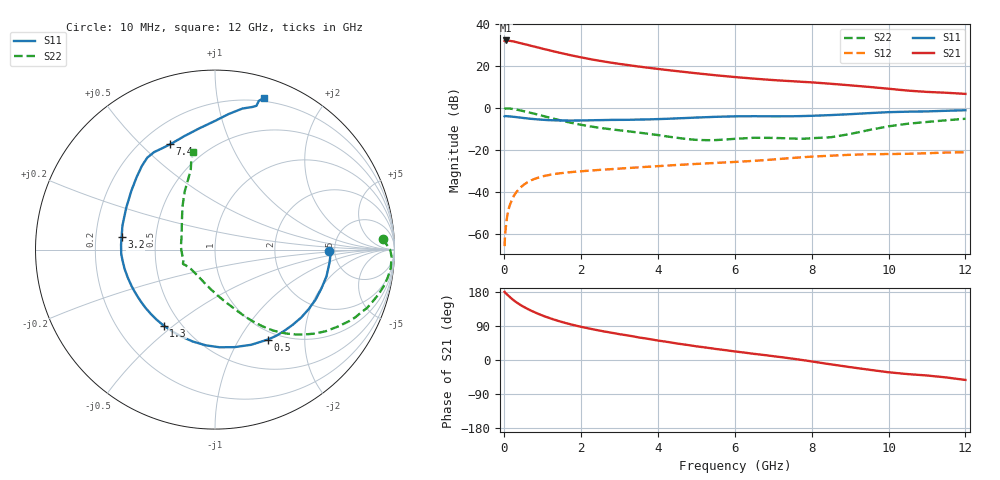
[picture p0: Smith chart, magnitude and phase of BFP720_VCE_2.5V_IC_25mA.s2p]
! Infineon Technologies  Discrete & RF Semiconductors
! BFP720
! VCE =  2.5 V,  IC =  25 mA
! Common Emitter S-Parameters:  Aug 2012
# GHz  S  MA  R  50
!  f  S11  S21  S12  S22
! GHz  MAG  ANG  MAG  ANG  MAG  ANG  MAG  ANG
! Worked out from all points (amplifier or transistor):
!   105 points, 10 MHz to 12 GHz, reference 50 ohm
!   highest |S21| = 32.4 dB at 50 MHz (marker M1)
!   |S21| within 3 dB of that: start of sweep to 798.4 MHz
!   unconditionally stable (mu >= 1): start of sweep to 15.35 MHz; 4.003 GHz to 9.86 GHz
!   at 300 MHz: K = 0.17, MSG = 36.1 dB, |S12| = -40.5 dB
!   at 3.6 GHz: K = 0.95, MSG = 23.9 dB, |S12| = -28.2 dB
!   at 12 GHz: K = 0.74, MSG = 14.0 dB, |S12| = -21.1 dB
!   S11 on the Smith chart (normalised r, x): 10 MHz: 4.50, -0.10; 500 MHz: 0.88, -1.33; 1.3 GHz: 0.40, -0.46; 3.2 GHz: 0.31, +0.06; 7.4 GHz: 0.31, +0.61; 12 GHz: 0.17, +1.36
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0.01  0.6363 -0.6  40.36 179.8  0.0005 -8.9  0.9367 3.7
0.02  0.6446 -2.5  41.27 177.9  0.0009 100.6  0.9762 -0.1
0.05  0.6419 -6.7  41.47 175.2  0.0016 90.7  0.9849 -2.4
0.1  0.6388 -13.5  41.28 170.5  0.0034 84.1  0.9847 -6.1
0.25  0.6183 -32.5  39.06 157.3  0.008 76.7  0.944 -15.4
0.35  0.6026 -44.0  37.02 150.0  0.0107 71.7  0.908 -20.9
0.5  0.5808 -59.7  34.29 140.7  0.0145 65.6  0.8469 -28.1
0.6  0.5673 -69.2  32.68 135.3  0.0168 61.9  0.8053 -32.3
0.8  0.5448 -87.3  29.34 125.6  0.0205 55.5  0.7277 -40.0
1  0.5269 -103.6  26.34 117.2  0.0233 50.4  0.6526 -46.4
1.3  0.511 -124.1  22.61 106.5  0.0265 44.5  0.5551 -54.3
1.7  0.5043 -144.7  18.65 94.9  0.0293 39.4  0.4537 -62.0
2.1  0.5081 -159.3  15.69 85.5  0.0314 36.6  0.3848 -67.9
2.6  0.5183 -172.8  12.98 75.3  0.0338 34.5  0.3269 -74.2
3.2  0.5251 172.4  10.75 65.0  0.0368 33.0  0.2804 -81.6
4.1  0.5501 152.7  8.44 49.9  0.0415 31.0  0.2197 -96.7
5  0.5952 137.1  6.807 36.0  0.0463 28.6  0.1742 -124.4
6.1  0.6368 125.5  5.44 21.4  0.0523 26.1  0.1866 -152.4
7.4  0.6378 113.2  4.447 4.9  0.0633 22.6  0.1891 -159.3
8.5  0.6816 97.3  3.819 -11.5  0.0729 14.6  0.2013 157.4
10.5  0.8216 75.3  2.621 -37.2  0.0808 0.0  0.4233 110.5
12  0.8897 72.0  2.188 -52.6  0.0878 -9.7  0.5562 102.6
